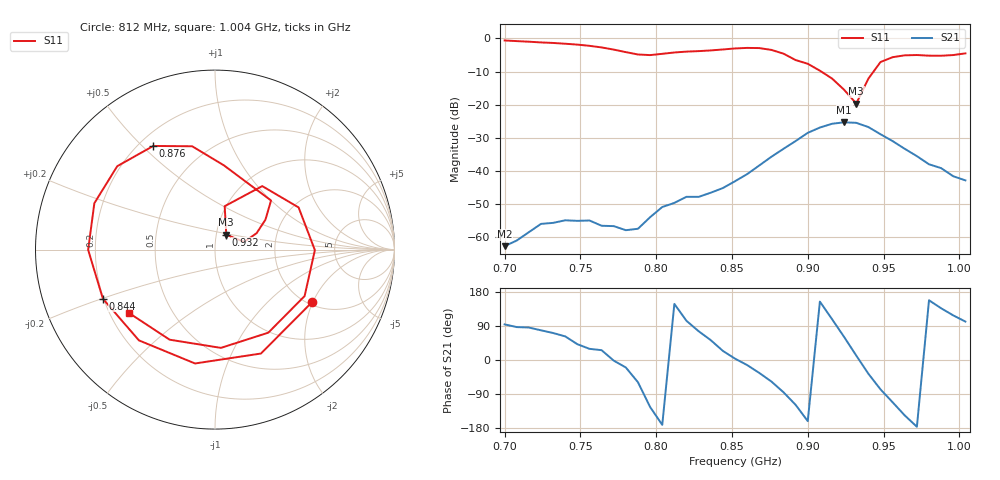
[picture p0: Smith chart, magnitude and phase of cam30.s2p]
# Hz S RI R 50
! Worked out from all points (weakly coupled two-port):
!   39 points, 700 MHz to 1.004 GHz, reference 50 ohm
!   highest |S21| = -25.30 dB at 924 MHz (marker M1); lowest = -62.7 dB at 700 MHz (marker M2)
!   lowest |S11| = -19.6 dB at 932 MHz (marker M3), VSWR 1.23, Z = 55.9 + j9.39 ohm
!   |S11| at or under -10 dB: 908.9 MHz to 943.4 MHz (34.44 MHz wide, 3.72 % of centre)
!   S12 and S22 are empty: the file has one direction only
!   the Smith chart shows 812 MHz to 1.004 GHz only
!   S11 on the Smith chart (normalised r, x): 812 MHz: 2.08, -1.97; 844 MHz: 0.20, -0.20; 876 MHz: 0.26, +0.54; 932 MHz: 1.12, +0.19; 1.004 GHz: 0.28, -0.31
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7e8  0.7645 0.5347  -5.09e-05 0.000734  0 0  0 0
7.24e8  0.8327 -0.2559  0.000322 0.00156  0 0  0 0
7.4e8  0.4459 -0.7032  0.000839 0.0016  0 0  0 0
7.56e8  -0.1959 -0.749  0.00156 0.000882  0 0  0 0
7.72e8  -0.6521 -0.1898  0.00147 -4.34e-05  0 0  0 0
7.8e8  -0.579 0.2267  0.0012 -0.000434  0 0  0 0
7.88e8  -0.2286 0.5254  0.000697 -0.00115  0 0  0 0
7.96e8  0.2532 0.5007  -0.00113 -0.00167  0 0  0 0
8.04e8  0.566 0.1535  -0.00283 -0.00044  0 0  0 0
8.12e8  0.5394 -0.2941  -0.0028 0.00175  0 0  0 0
8.28e8  -0.1112 -0.6345  0.000988 0.00395  0 0  0 0
8.44e8  -0.6247 -0.2734  0.00506 0.00226  0 0  0 0
8.52e8  -0.7068 -0.00129  0.007 0.000441  0 0  0 0
8.76e8  -0.3438 0.5774  0.00899 -0.0137  0 0  0 0
9e8  0.3122 0.2736  -0.0357 -0.0121  0 0  0 0
9.08e8  0.281 0.1664  -0.0407 0.0198  0 0  0 0
9.24e8  0.1626 0.0429  0.0265 0.0474  0 0  0 0
9.32e8  0.0629 0.0831  0.0522 0.0108  0 0  0 0
9.48e8  0.2632 0.3538  0.00776 -0.0351  0 0  0 0
9.56e8  0.4658 0.2349  -0.0104 -0.0263  0 0  0 0
9.8e8  0.297 -0.4628  -0.0117 0.00482  0 0  0 0
1.004e9  -0.4796 -0.3529  -0.00143 0.00709  0 0  0 0
